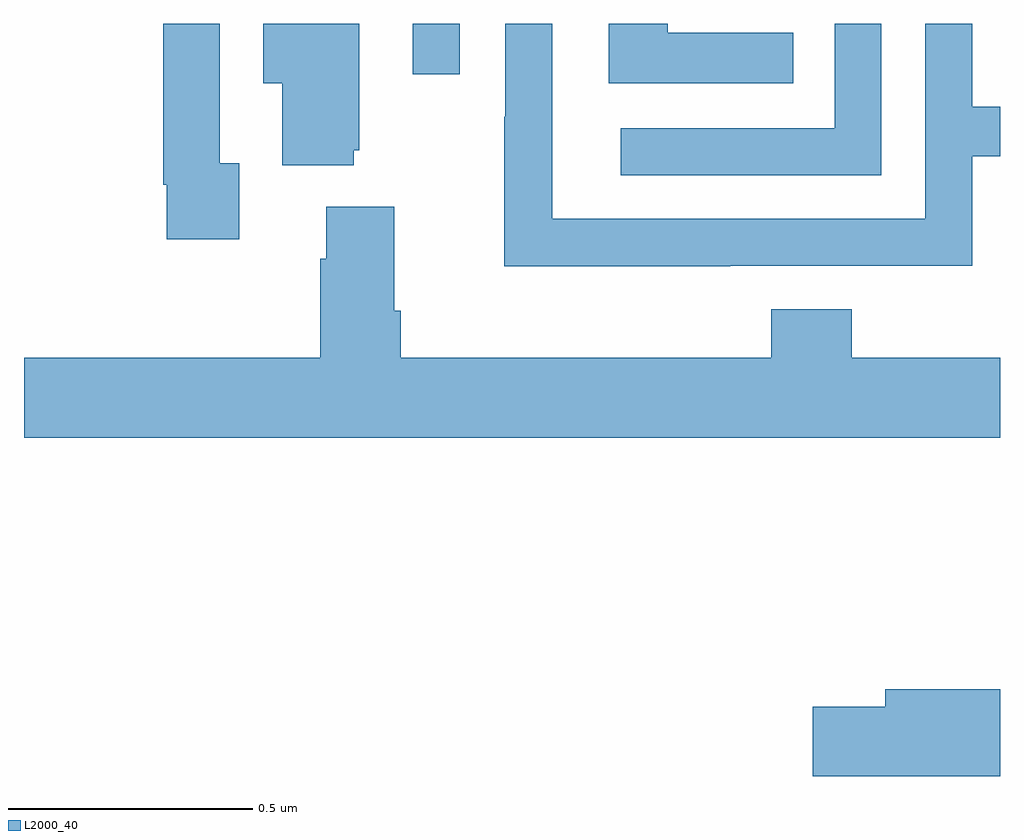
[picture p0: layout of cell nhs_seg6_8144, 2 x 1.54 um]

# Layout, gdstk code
import gdstk
lib = gdstk.Library(unit=1e-6, precision=1e-09)
def R(c, l, rs):  # rectangles x0, y0, x1, y1
    for r in rs: c.add(gdstk.rectangle(r[:2], r[2:], *l))
def P(c, l, *ps):  # polygons
    for p in ps: c.add(gdstk.Polygon(p, *l))
L2000_40 = (2000, 40)

nhs_seg6_8144 = lib.new_cell('nhs_seg6_8144')
R(nhs_seg6_8144, L2000_40, [(217.797,965.397,217.893,965.5)])
P(nhs_seg6_8144, L2000_40, [(218.447,965.004),(218.943,965.004),(218.943,965.229),(219,965.229),(219,965.33),(218.943,965.33),(218.943,965.5),(218.847,965.5),(218.847,965.1),(218.082,965.1),(218.082,965.5),(217.986,965.5),(217.986,965.309),(217.984,965.309),(217.984,965.003),(218.447,965.003)],
  [(217.441,965.214),(217.401,965.214),(217.401,965.5),(217.285,965.5),(217.285,965.17),(217.293,965.17),(217.293,965.058),(217.441,965.058)],
  [(218.576,965.482),(218.319,965.482),(218.319,965.5),(218.198,965.5),(218.198,965.378),(218.576,965.378)],
  [(218.757,965.5),(218.661,965.5),(218.661,965.286),(218.223,965.286),(218.223,965.19),(218.757,965.19)],
  [(217.676,965.241),(217.687,965.241),(217.687,965.5),(217.49,965.5),(217.49,965.378),(217.529,965.378),(217.529,965.21),(217.676,965.21)],
  [(219,964.816),(218.696,964.816),(218.696,964.915),(218.531,964.915),(218.531,964.816),(217.772,964.816),(217.772,964.912),(217.759,964.912),(217.759,965.125),(217.619,965.125),(217.619,965.018),(217.607,965.018),(217.607,964.816),(217,964.816),(217,964.652),(219,964.652)],
  [(219,964.136),(218.765,964.136),(218.765,964.1),(218.616,964.1),(218.616,963.958),(219,963.958)])

lib.write_gds('nhs_seg6_8144.gds')
